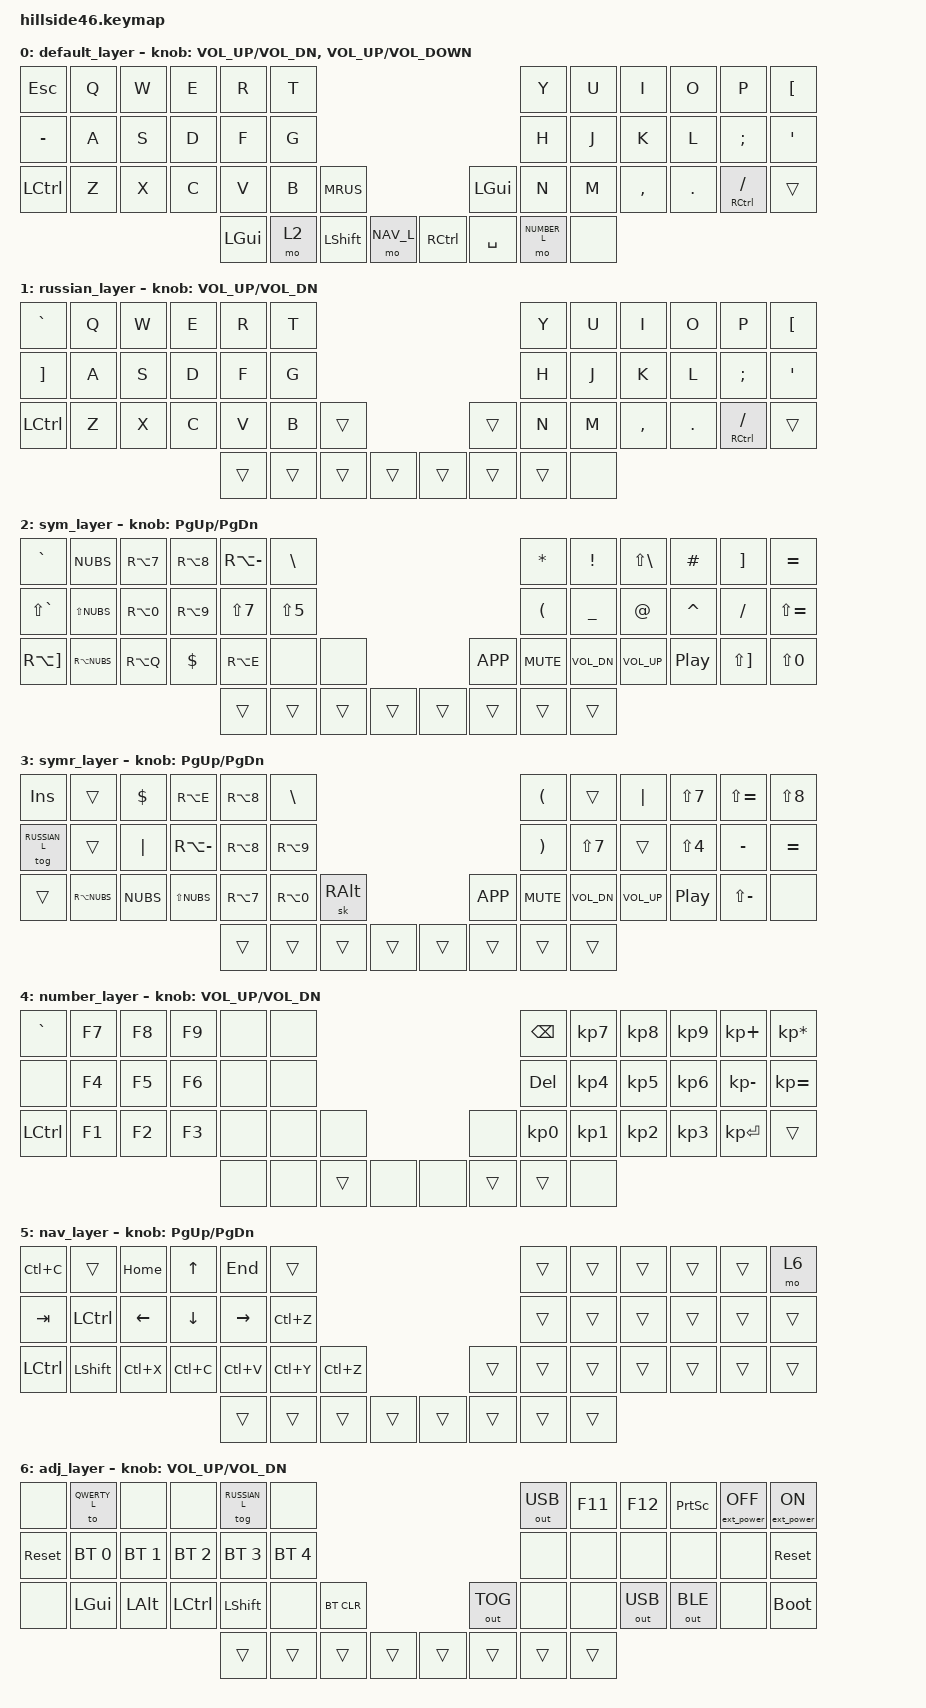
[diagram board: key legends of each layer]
/*
 * Copyright (c) 2021-2022 The ZMK Contributors
 *
 * SPDX-License-Identifier: MIT
 */
#include <behaviors.dtsi>
#include <dt-bindings/zmk/bt.h>
#include <dt-bindings/zmk/ext_power.h>
#include <dt-bindings/zmk/keys.h>
#include <dt-bindings/zmk/outputs.h>
#define QWERTY_L   0
#define RUSSIAN_L  1
#define SYM_L      2
#define SYMR_L     3
#define NUMBER_L   4
#define NAV_L      5
#define ADJ_L      6
#define Undo   LC(Y)
#define Cut    LC(X)
#define Copy   LC(C)
#define Paste  LC(V)
#define Redo   LC(Z)
/ {
    conditional_layers {
        compatible = "zmk,conditional-layers";
        symr_layer {
            if-layers = <1 2>;
            then-layer = <3>;
        };
    };
    macros {
        MRUS: MRUS {
            compatible = "zmk,behavior-macro";
            #binding-cells = <0>;
            bindings
                = <&macro_press &kp LGUI>
                , <&macro_tap &kp SPACE>
                , <&macro_release &kp LGUI>
                , <&macro_tap &tog RUSSIAN_L>
                ;
        };
    };
    behaviors {
        gr_esc: grave_escape {
            compatible = "zmk,behavior-mod-morph";
            label = "GR_ESC";
            #binding-cells = <0>;
            bindings = <&kp GRAVE>, <&kp ESC>;
            mods = <(MOD_LGUI|MOD_LALT|MOD_RGUI|MOD_RALT)>;
        };
        bspc_del: backspace_delete {
            compatible = "zmk,behavior-mod-morph";
            label = "BS_DEL";
            #binding-cells = <0>;
            bindings = <&kp BACKSPACE>, <&kp DELETE>;
            mods = <(MOD_LSFT|MOD_RSFT)>;
        };
        Bspc_Layer: Bspc_Layer {
            compatible = "zmk,behavior-hold-tap";
            label = "BSPC_LAYER";
            bindings = <&mo>, <&bspc_del>;
            #binding-cells = <2>;
            tapping-term-ms = <200>;
        };
    };
    combos {
        compatible = "zmk,combos";
        Combo_DEL {
            bindings = <&kp DEL>;
            key-positions = <3 4>;
        };
        Combo_SKIPF {
            bindings = <&kp RC(RIGHT)>;
            key-positions = <14 15>;
        };
        Combo_SKIPB {
            bindings = <&kp RC(LEFT)>;
            key-positions = <14 13>;
        };
        Combo_BSPC {
            bindings = <&kp BSPC>;
            key-positions = <15 16>;
        };
        Combo_ENTER {
            bindings = <&kp RET>;
            key-positions = <27 28>;
        };
        Combo_KPP {
            bindings = <&kp P>;
            key-positions = <2 3>;
        };
    };
    keymap {
        compatible = "zmk,keymap";
        default_layer {
            /* QWERTY
 * -------------------------------------------------------------------------------------------------------------------------------------
 * |  ESC  |   Q   |   W   |   E   |   R   |   T   |-----------------------------------|   Z   |   U   |   I   |   O   |   P   |   Ü   |
 * |   ß   |   A   |   S   |   D   |   F   |   G   |-----------------------------------|   H   |   J   |   K   |   L   |   Ö   |   Ä   |
 * | CTRL  |   Y   |   X   |   C   |   V   |   B   | none  |-------------------|  GUI  |   N   |   M   |   ,   |   .   |   -   | trans |
 *                                 |  GUI  |  Sym  | SHIFT |  Nav  |---| CTRL  | SPACE |  Num  |  none |
 *  
 */

            bindings = <
&kp ESCAPE        &kp Q  &kp W  &kp E  &kp R     &kp T                                                         &kp Y         &kp U  &kp I      &kp O    &kp P            &kp LBKT
&kp MINUS         &kp A  &kp S  &kp D  &kp F     &kp G                                                         &kp H         &kp J  &kp K      &kp L    &kp SEMI         &kp SQT
&kp LEFT_CONTROL  &kp Z  &kp X  &kp C  &kp V     &kp B  &MRUS                                       &kp LGUI   &kp N         &kp M  &kp COMMA  &kp DOT  &mt RCTRL SLASH  &trans
                                       &kp LGUI  &mo 2  &kp LSHIFT  &mo NAV_L    &kp RIGHT_CONTROL  &kp SPACE  &mo NUMBER_L  &none
            >;

            sensor-bindings =
                <&inc_dec_kp C_VOL_UP C_VOL_DN>,
                <&inc_dec_kp C_VOLUME_UP C_VOLUME_DOWN>;
        };
        russian_layer {
            /* RUS            
            
 * -------------------------------------------------------------------------------------------------------------------------------------
 * |   Ё   |   Й   |   Ц   |   У   |   К   |   Е   |-----------------------------------|   Н   |   Г   |   Ш   |   Щ   |   З   |   Х   |
 * |   Ъ   |   Ф   |   Ы   |   В   |   А   |   П   |-----------------------------------|   Р   |   О   |   Л   |   Д   |   Ж   |   Э   |
 * | CTRL  |   Я   |   Ч   |   С   |   м   |   И   | none  |-------------------|  GUI  |   Т   |   Ь   |   Б   |   Ю   |   .   | trans |
 *                                 |  GUI  |  Sym  | SHIFT |  Nav  |---| CTRL  | SPACE |  Num  |  none |
 */
           bindings = <
&kp GRAVE         &kp Q  &kp W  &kp E  &kp R     &kp T                                   &kp Y  &kp U    &kp I    &kp O      &kp P            &kp LBKT
&kp RBKT          &kp A  &kp S  &kp D  &kp F     &kp G                                   &kp H  &kp J    &kp K    &kp L      &kp SEMI         &kp SQT
&kp LEFT_CONTROL  &kp Z  &kp X  &kp C  &kp V     &kp B  &trans                   &trans  &kp N  &kp M    &kp COMMA  &kp DOT  &mt RCTRL SLASH  &trans
                                    &trans   &trans    &trans  &trans    &trans  &trans  &trans    &none
            >;
            sensor-bindings = <&inc_dec_kp C_VOL_UP C_VOL_DN>;
        };
           /* RUS
 * ------------------------------------------------------------------------------------------------------------------------------------- BULGARIAN LAYOUT
 * |   Ё   |   Ы   |   У   |   E   |   И   |   Ш   |-----------------------------------|   Щ   |   К   |   С   |   Д   |   З   |   Ц   |
 * |   Ъ   |   .   |   Я   |   А   |   О   |   Ж   |-----------------------------------|   Г   |   Т   |   Н   |   В   |   М   |   Ч   |
 * | CTRL  |   Ю   |   Й   |   Ь   |   Э   |   Ф   | none  |-------------------|  none |   Х   |   П   |   Р   |   Л   |   Б   | ENTER |
 *                                 |  GUI  |       |SK SHFT|  Nav  |---|  Sym  | SPACE |  Num  |  none |
 *
 *           bindings = <
 * &kp GRAVE  &kp S      &kp E  &kp T  &kp B    &kp I                                       &kp O     &kp R  &kp C  &kp L  &kp P      &kp W
 * &kp RBKT   &kp SLASH  &kp Z  &kp F  &kp J    &kp SEMI                                    &kp U     &kp N  &kp Y  &kp D  &kp V      &kp X
 * &kp LCTRL  &kp DOT    &kp Q  &kp M  &kp SQT  &kp A     &trans                    &trans  &kp LBKT  &kp G  &kp H  &kp K  &kp COMMA  &kp ENTER
 *                                     &trans   &trans    &trans  &trans    &trans  &trans  &trans    &none
 *             >;
 *             sensor-bindings = <&inc_dec_kp C_VOL_UP C_VOL_DN>;
 *        };
 */
        sym_layer {
            /* SYM
 * -------------------------------------------------------------------------------------------------------------------------------------
 * |   ^   |   <   |   {   |   [   |   \   |   #   |-----------------------------------|   (   |   !   |   '   |   §   |   +   |   ´   |
 * |   °   |   >   |   }   |   ]   |   /   |   %   |-----------------------------------|   )   |   ?   |   "   |   &   |   -   |   `   |     
 * |   ~   |   |   |   @   |   $   |   €   |   ₽   |       |-------------------| MENU  | Mute  | Vol-  | Vol+  | Play  |   *   |   =   |
 *                                 |       |       |       |  ADJ_L |---|      |       |       |       |
 */
            bindings = <
&kp GRAVE       &kp NUBS      &kp RA(N7)    &kp RA(N8)  &kp RA(MINUS) &kp BSLH                                          &kp ASTRK   &kp EXCL      &kp LS(BSLH)  &kp HASH   &kp RBKT       &kp EQUAL
&kp LS(GRAVE)   &kp LS(NUBS)  &kp RA(N0)    &kp RA(N9)  &kp LS(N7)    &kp LS(N5)                                        &kp LPAR    &kp UNDER     &kp AT        &kp CARET  &kp SLASH      &kp LS(EQUAL) 
&kp RA(RBKT)    &kp RA(NUBS)  &kp RA(Q)     &kp DOLLAR  &kp RA(E)     &none      &none                       &kp K_APP  &kp C_MUTE  &kp C_VOL_DN  &kp C_VOL_UP  &kp C_PP   &kp LS(RBKT)   &kp LS(N0)
                                                         &trans      &trans      &trans    &trans    &trans  &trans     &trans      &trans
            >;
            sensor-bindings = <&inc_dec_kp PG_UP PG_DN>;
        };
        symr_layer {
            /* SYMBOLS RUSSIAN
 * -------------------------------------------------------------------------------------------------------------------------------------
 * | INS   |   %   |   $   |   €   |   ₽   |   #   |-----------------------------------|   (   |   !   |   '   |   :   |   +   |   *   |   
 * | RUS_L |   @   |   /   |   \   |   [   |   ]   |-----------------------------------|   )   |   ?   |   "   |   ;   |   -   |   =   | 
 * | Ctrl  |   |   |   <   |   >   |   {   |   }   |SkAltGr|-------------------| MENU  | Mute  | Vol-  | Vol+  | Play  |   _   |       |
 *                                 |       |       |       |  ADJ_L |---|      |       |       |       |
 */
            bindings = <
&kp INS         &trans        &kp DOLLAR  &kp RA(E)      &kp RA(N8)  &kp BSLH                                           &kp LPAR    &trans        &kp PIPE      &kp LS(N7)  &kp LS(EQUAL)  &kp LS(N8)
&tog RUSSIAN_L  &trans        &kp PIPE    &kp RA(MINUS)  &kp RA(N8)  &kp RA(N9)                                         &kp RPAR    &kp LS(N7)    &trans        &kp LS(N4)  &kp MINUS      &kp EQUAL
&trans          &kp RA(NUBS)  &kp NUBS    &kp LS(NUBS)   &kp RA(N7)  &kp RA(N0)  &sk RALT                    &kp K_APP  &kp C_MUTE  &kp C_VOL_DN  &kp C_VOL_UP  &kp C_PP    &kp LS(MINUS)  &none 
                                                         &trans      &trans      &trans    &trans    &trans  &trans     &trans      &trans
            >;
            sensor-bindings = <&inc_dec_kp PG_UP PG_DN>;
        };
        number_layer {
            /* NUMBER
 * -------------------------------------------------------------------------------------------------------------------------------------
 * |   ^   |   F7  |   F8  |   F9  |   -   |   -   |-----------------------------------|  BSPC |   7   |   8   |   9   |   +   |   *   |
 * |       |   F4  |   F5  |   F6  |   -   |   -   |-----------------------------------|  DEL  |   4   |   5   |   6   |   -   |   =   |
 * | CTRL  |   F1  |   F2  |   F3  |   -   |   -   |       |-------------------|       |   0   |   1   |   2   |   3   | ENTER |       |
 *                                 |   -   |   -   |SK SHFT|       |---|       | SPACE |       |       |
 */
            bindings = <
&kp GRAVE  &kp F7  &kp F8  &kp F9  &none     &none                                           &kp BSPC   &kp KP_N7  &kp KP_N8  &kp KP_N9  &kp KP_PLUS   &kp KP_MULTIPLY
&none      &kp F4  &kp F5  &kp F6  &none     &none                                           &kp DEL    &kp KP_N4  &kp KP_N5  &kp KP_N6  &kp KP_MINUS  &kp KP_EQUAL
&kp LCTRL  &kp F1  &kp F2  &kp F3  &none     &none     &none                     &none       &kp KP_N0  &kp KP_N1  &kp KP_N2  &kp KP_N3  &kp KP_ENTER  &trans
                                   &none     &none     &trans   &none    &none   &trans      &trans     &none
            >;
            sensor-bindings = <&inc_dec_kp C_VOL_UP C_VOL_DN>;
        };

        nav_layer {
            /* NAV   
 * -------------------------------------------------------------------------------------------------------------------------------------
 * | Copy  |       | HOME  |  Up   |  END  |       |-----------------------------------|       |       |       |       |       |  Adj  |
 * | TAB   | CTRL  | Left  | Down  | Right | ReDo  |-----------------------------------|       |       |       |       |       |       |
 * | Ctrl  | SHIFT |  Cut  | Copy  | Paste | UnDo  |  ReDo |-------------------|       |       |       |       |       |       |       |
 *                                 |       |       |       |       |---|       |       |       |       |
 */

            bindings = <
&kp Copy   &trans      &kp HOME  &kp UP    &kp END    &trans                                          &trans  &trans  &trans  &trans   &trans   &mo 6
&kp TAB    &kp LCTRL   &kp LEFT  &kp DOWN  &kp RIGHT  &kp Redo                                        &trans  &trans  &trans  &trans   &trans   &trans
&kp LCTRL  &kp LSHIFT  &kp Cut   &kp Copy  &kp Paste  &kp Undo  &kp Redo                    &trans    &trans  &trans  &trans  &trans   &trans   &trans
                                           &trans     &trans    &trans    &trans    &trans  &trans    &trans  &trans
            >;

            sensor-bindings = <&inc_dec_kp PG_UP PG_DN>;
        };
        adj_layer {
            /* ADJUST
 * -------------------------------------------------------------------------------------------------------------------------------------
 * |       | QWERTY|       |       |RUSSIAN|       |-----------------------------------|OUT_USB|  F11  |  F12  |Prt Scr|EP_OFF | EP_ON |
 * | RESET | BT 0  | BT 1  | BT 2  | BT 3  | BT 4  |-----------------------------------|       |       |       |       |       | RESET |
 * |       | LGUI  | LALT  | LCTRL | LSHIFT|       |BT CLR |-------------------|OUT_TOG|       |       |OUT_USB|OUT_BLE|       | BOOTL |
 *                                 |       |       |       |       |---|       |       |       |       |
 */
            bindings = <
&none       &to QWERTY_L  &none         &none         &tog RUSSIAN_L &none                                                     &out OUT_USB  &kp F11  &kp F12       &kp PRINTSCREEN  &ext_power EP_OFF  &ext_power EP_ON
&sys_reset  &bt BT_SEL 0  &bt BT_SEL 1  &bt BT_SEL 2  &bt BT_SEL 3   &bt BT_SEL 4                                              &none         &none    &none         &none            &none              &sys_reset
&none       &kp LGUI      &kp LALT      &kp LCTRL     &kp LSHIFT     &none         &bt BT_CLR                    &out OUT_TOG  &none         &none    &out OUT_USB  &out OUT_BLE     &none              &bootloader
                                                      &trans         &trans        &trans      &trans    &trans  &trans        &trans        &trans
            >;
            sensor-bindings = <&inc_dec_kp C_VOL_UP C_VOL_DN>;
        };
    };
};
